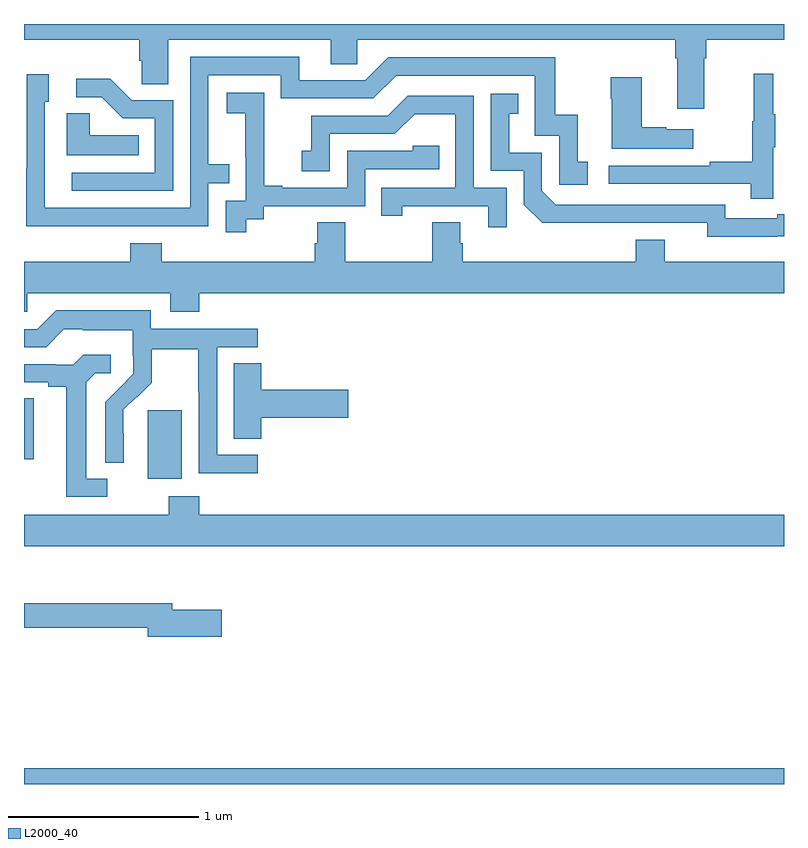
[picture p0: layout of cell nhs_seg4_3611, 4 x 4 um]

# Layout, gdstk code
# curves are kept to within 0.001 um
import gdstk
lib = gdstk.Library(unit=1e-6, precision=1e-09)
def R(c, l, rs):  # rectangles x0, y0, x1, y1
    for r in rs: c.add(gdstk.rectangle(r[:2], r[2:], *l))
def P(c, l, *ps):  # polygons
    for p in ps: c.add(gdstk.Polygon(p, *l))
L2000_40 = (2000, 40)

nhs_seg4_3611 = lib.new_cell('nhs_seg4_3611')
R(nhs_seg4_3611, L2000_40, [(301,796.9,305,796.984), (301.652,798.506,301.831,798.867), (301,798.609,301.051,798.929)])
P(nhs_seg4_3611, L2000_40, [(304.579,800.72),(304.592,800.72),(304.592,800.816),(305,800.816),(305,800.9),(301,800.9),(301,800.816),(301.607,800.816),(301.607,800.707),(301.62,800.707),(301.62,800.584),(301.759,800.584),(301.759,800.816),(302.615,800.816),(302.615,800.689),(302.754,800.689),(302.754,800.816),(304.427,800.816),(304.427,800.72),(304.439,800.72),(304.439,800.454),(304.579,800.454)],
  [(301.475,799.836),(301.971,799.836),(301.971,800.061),(302.081,800.061),(302.081,800.162),(301.971,800.162),(301.971,800.631),(302.352,800.631),(302.352,800.508),(302.838,800.508),(302.958,800.628),(303.687,800.628),(303.687,800.313),(303.816,800.313),(303.816,800.055),(303.967,800.055),(303.967,800.175),(303.914,800.175),(303.914,800.422),(303.796,800.422),(303.796,800.724),(302.916,800.724),(302.796,800.604),(302.449,800.604),(302.449,800.727),(301.875,800.727),(301.875,799.932),(301.11,799.932),(301.11,800.49),(301.129,800.49),(301.129,800.635),(301.014,800.635),(301.014,800.141),(301.012,800.141),(301.012,799.835)],
  [(304.943,800.251),(304.954,800.251),(304.954,800.425),(304.943,800.425),(304.943,800.638),(304.84,800.638),(304.84,800.388),(304.833,800.388),(304.833,800.174),(304.609,800.174),(304.609,800.154),(304.077,800.154),(304.077,800.058),(304.825,800.058),(304.825,799.98),(304.943,799.98)],
  [(304.522,800.347),(304.379,800.347),(304.379,800.357),(304.252,800.357),(304.252,800.62),(304.087,800.62),(304.087,800.507),(304.094,800.507),(304.094,800.243),(304.522,800.243)],
  [(301.785,800.499),(301.566,800.499),(301.453,800.612),(301.275,800.612),(301.275,800.514),(301.409,800.514),(301.52,800.403),(301.689,800.403),(301.689,800.118),(301.251,800.118),(301.251,800.022),(301.785,800.022)],
  [(302.17,799.873),(302.262,799.873),(302.262,799.941),(302.796,799.941),(302.796,800.136),(303.185,800.136),(303.185,800.259),(303.045,800.259),(303.045,800.232),(302.7,800.232),(302.7,800.037),(302.359,800.037),(302.359,800.05),(302.264,800.05),(302.264,800.333),(302.265,800.333),(302.265,800.539),(302.067,800.539),(302.067,800.429),(302.165,800.429),(302.165,800.201),(302.166,800.201),(302.166,799.971),(302.061,799.971),(302.061,799.803),(302.17,799.803)],
  [(304.964,799.782),(305,799.782),(305,799.898),(304.964,799.898),(304.964,799.878),(304.692,799.878),(304.692,799.95),(303.798,799.95),(303.726,800.022),(303.726,800.223),(303.553,800.223),(303.553,800.427),(303.602,800.427),(303.602,800.533),(303.456,800.533),(303.456,800.127),(303.63,800.127),(303.63,799.95),(303.728,799.853),(304.596,799.854),(304.596,799.781)],
  [(303.54,800.037),(303.366,800.037),(303.366,800.523),(303.02,800.523),(302.915,800.418),(302.512,800.418),(302.512,800.233),(302.463,800.233),(302.463,800.124),(302.61,800.124),(302.61,800.322),(302.952,800.322),(303.056,800.426),(303.27,800.426),(303.27,800.037),(302.881,800.037),(302.881,799.89),(302.992,799.89),(302.992,799.941),(303.443,799.941),(303.443,799.83),(303.54,799.83)],
  [(301.604,800.314),(301.347,800.314),(301.347,800.429),(301.226,800.429),(301.226,800.21),(301.604,800.21)],
  [(301.922,799.484),(305,799.484),(305,799.648),(304.372,799.648),(304.372,799.765),(304.22,799.765),(304.22,799.648),(303.308,799.648),(303.308,799.746),(303.295,799.746),(303.295,799.856),(303.148,799.856),(303.148,799.648),(302.691,799.648),(302.691,799.856),(302.543,799.856),(302.543,799.746),(302.531,799.746),(302.531,799.648),(301.724,799.648),(301.724,799.747),(301.559,799.747),(301.559,799.648),(301,799.648),(301,799.386),(301.017,799.386),(301.017,799.484),(301.769,799.484),(301.769,799.385),(301.922,799.385)],
  [(302.23,798.633),(302.016,798.633),(302.016,799.2),(302.23,799.2),(302.23,799.296),(301.668,799.296),(301.668,799.393),(301.171,799.393),(301.071,799.293),(301,799.293),(301,799.2),(301.116,799.2),(301.209,799.293),(301.309,799.293),(301.309,799.289),(301.572,799.289),(301.572,799.155),(301.574,799.155),(301.574,799.058),(301.428,798.91),(301.428,798.592),(301.524,798.592),(301.523,798.869),(301.593,798.939),(301.596,798.936),(301.673,799.013),(301.673,799.188),(301.918,799.188),(301.918,798.964),(301.92,798.964),(301.92,798.535),(302.23,798.535)],
  [(301.438,798.507),(301.327,798.507),(301.327,799.015),(301.374,799.062),(301.456,799.062),(301.456,799.159),(301.312,799.159),(301.26,799.107),(301.166,799.107),(301.166,799.11),(301,799.11),(301,799.014),(301.127,799.014),(301.127,798.992),(301.223,798.992),(301.223,798.411),(301.438,798.411)],
  [(302.249,798.827),(302.707,798.827),(302.707,798.974),(302.249,798.974),(302.249,799.115),(302.105,799.115),(302.105,798.718),(302.249,798.718)],
  [(305,798.316),(301.922,798.316),(301.922,798.415),(301.762,798.415),(301.762,798.316),(301,798.316),(301,798.152),(305,798.152)],
  [(302.041,797.817),(301.78,797.817),(301.78,797.851),(301,797.851),(301,797.722),(301.652,797.722),(301.652,797.675),(302.041,797.675)])

lib.write_gds('nhs_seg4_3611.gds')
